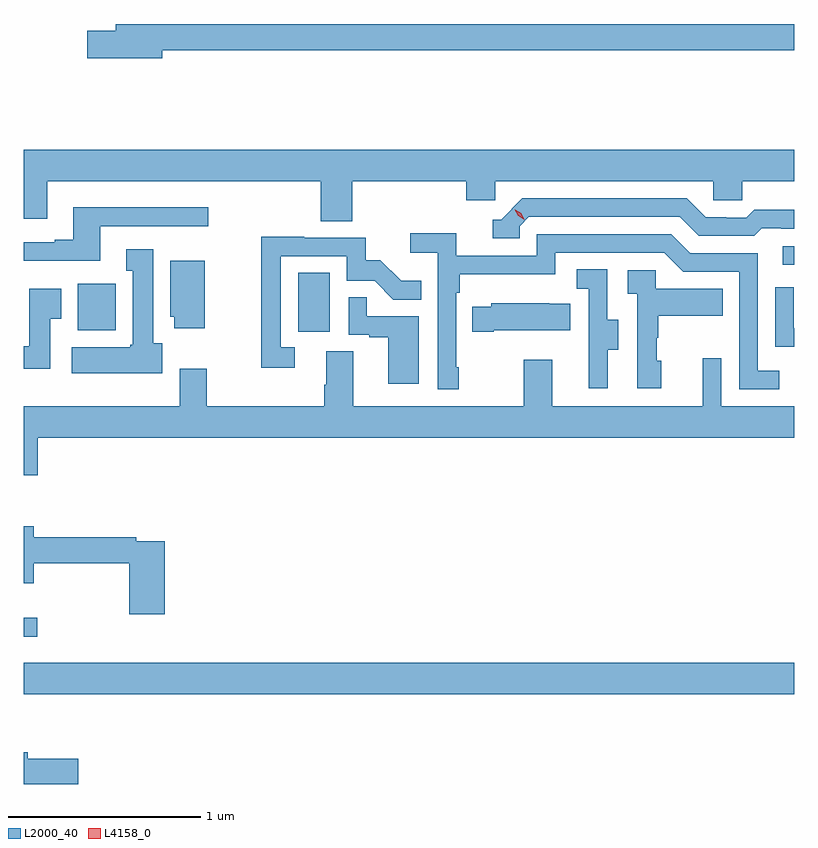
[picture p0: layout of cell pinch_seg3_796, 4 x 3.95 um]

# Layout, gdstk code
import gdstk
lib = gdstk.Library(unit=1e-6, precision=1e-09)
def R(c, l, rs):  # rectangles x0, y0, x1, y1
    for r in rs: c.add(gdstk.rectangle(r[:2], r[2:], *l))
def P(c, l, *ps):  # polygons
    for p in ps: c.add(gdstk.Polygon(p, *l))
L2000_40 = (2000, 40)
L4158_0 = (4158, 0)

pinch_seg3_796 = lib.new_cell('pinch_seg3_796')
R(pinch_seg3_796, L2000_40, [(863.862,711.572,867.862,711.736), (863.862,711.872,863.932,711.969), (865.286,713.454,865.45,713.761), (864.143,713.462,864.34,713.704), (867.801,713.802,867.862,713.898)])
P(pinch_seg3_796, L2000_40, [(864.58,714.916),(867.862,714.916),(867.862,715.052),(864.341,715.052),(864.341,715.016),(864.192,715.016),(864.192,714.874),(864.58,714.874)],
  [(865.568,714.236),(866.159,714.236),(866.159,714.138),(866.31,714.138),(866.31,714.236),(867.441,714.236),(867.441,714.138),(867.591,714.138),(867.591,714.236),(867.862,714.236),(867.862,714.4),(863.862,714.4),(863.862,714.042),(863.983,714.042),(863.983,714.236),(865.403,714.236),(865.403,714.028),(865.568,714.028)],
  [(866.436,714.003),(866.484,714.051),(867.267,714.051),(867.366,713.952),(867.655,713.952),(867.694,713.991),(867.793,713.991),(867.793,713.988),(867.862,713.988),(867.862,714.088),(867.655,714.088),(867.613,714.045),(867.51,714.045),(867.51,714.048),(867.403,714.048),(867.304,714.147),(866.451,714.147),(866.34,714.036),(866.297,714.036),(866.297,713.94),(866.436,713.94)],
  [(864.259,714.003),(864.82,714.003),(864.82,714.1),(864.119,714.1),(864.119,713.932),(864.023,713.932),(864.023,713.919),(863.862,713.919),(863.862,713.822),(864.259,713.822)],
  [(866.119,713.269),(866.106,713.269),(866.106,713.657),(866.126,713.657),(866.126,713.753),(866.622,713.753),(866.622,713.865),(867.186,713.865),(867.285,713.766),(867.576,713.766),(867.576,713.157),(867.785,713.157),(867.785,713.253),(867.672,713.253),(867.672,713.862),(867.322,713.862),(867.223,713.961),(866.526,713.961),(866.526,713.85),(866.108,713.85),(866.108,713.966),(865.869,713.966),(865.869,713.864),(866.01,713.864),(866.01,713.157),(866.119,713.157)],
  [(865.27,713.373),(865.197,713.373),(865.197,713.847),(865.539,713.847),(865.539,713.718),(865.683,713.718),(865.781,713.62),(865.925,713.62),(865.925,713.719),(865.821,713.719),(865.714,713.826),(865.638,713.826),(865.638,713.943),(865.319,713.943),(865.319,713.948),(865.096,713.948),(865.096,713.268),(865.27,713.268)],
  [(864.58,713.394),(864.535,713.394),(864.535,713.884),(864.395,713.884),(864.395,713.771),(864.428,713.771),(864.428,713.388),(864.415,713.388),(864.415,713.374),(864.111,713.374),(864.111,713.24),(864.58,713.24)],
  [(864.802,713.824),(864.623,713.824),(864.623,713.532),(864.644,713.532),(864.644,713.472),(864.802,713.472)],
  [(866.893,713.362),(866.947,713.362),(866.947,713.517),(866.892,713.517),(866.892,713.78),(866.733,713.78),(866.733,713.677),(866.796,713.677),(866.796,713.373),(866.795,713.373),(866.795,713.16),(866.893,713.16)],
  [(867.172,713.304),(867.147,713.304),(867.147,713.423),(867.157,713.423),(867.157,713.537),(867.491,713.537),(867.491,713.677),(867.144,713.677),(867.144,713.775),(866.997,713.775),(866.997,713.651),(867.048,713.651),(867.048,713.16),(867.172,713.16)],
  [(867.862,713.474),(867.858,713.474),(867.858,713.686),(867.762,713.686),(867.762,713.376),(867.862,713.376)],
  [(864.001,713.521),(864.058,713.521),(864.058,713.677),(863.891,713.677),(863.891,713.38),(863.862,713.38),(863.862,713.262),(864.001,713.262)],
  [(865.912,713.535),(865.643,713.535),(865.643,713.633),(865.548,713.633),(865.548,713.439),(865.655,713.439),(865.655,713.427),(865.754,713.427),(865.754,713.184),(865.912,713.184)],
  [(866.302,713.462),(866.699,713.462),(866.699,713.599),(866.591,713.599),(866.591,713.602),(866.289,713.602),(866.289,713.584),(866.191,713.584),(866.191,713.455),(866.302,713.455)],
  [(863.936,712.904),(867.862,712.904),(867.862,713.068),(867.483,713.068),(867.483,713.317),(867.386,713.317),(867.386,713.068),(866.605,713.068),(866.605,713.308),(866.458,713.308),(866.458,713.068),(865.573,713.068),(865.573,713.354),(865.433,713.354),(865.433,713.18),(865.421,713.18),(865.421,713.068),(864.811,713.068),(864.811,713.263),(864.671,713.263),(864.671,713.068),(863.862,713.068),(863.862,712.71),(863.936,712.71)],
  [(864.593,712.368),(864.446,712.368),(864.446,712.388),(863.914,712.388),(863.914,712.444),(863.862,712.444),(863.862,712.148),(863.914,712.148),(863.914,712.252),(864.41,712.252),(864.41,711.987),(864.593,711.987)],
  [(864.145,711.237),(863.884,711.237),(863.884,711.271),(863.862,711.271),(863.862,711.107),(864.145,711.107)])
P(pinch_seg3_796, L4158_0, [(866.46,714.037),(866.429,714.056),(866.412,714.089),(866.412,714.089),(866.413,714.089),(866.444,714.07),(866.46,714.038),(866.46,714.037)])

lib.write_gds('pinch_seg3_796.gds')
